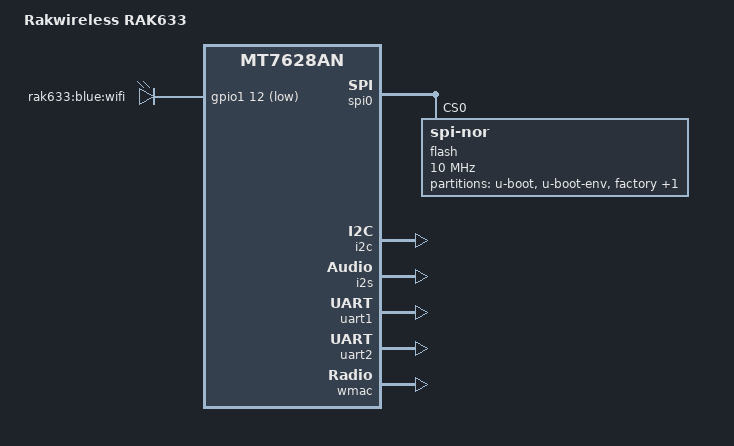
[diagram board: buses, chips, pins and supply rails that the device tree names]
// SPDX-License-Identifier: GPL-2.0-or-later OR MIT
/dts-v1/;

#include "mt7628an.dtsi"

#include <dt-bindings/gpio/gpio.h>
#include <dt-bindings/input/input.h>

/ {
	compatible = "rakwireless,rak633", "mediatek,mt7628an-soc";
	model = "Rakwireless RAK633";

	leds {
		compatible = "gpio-leds";

		wifi {
			label = "rak633:blue:wifi";
			gpios = <&gpio1 12 GPIO_ACTIVE_LOW>;
		};
	};
};

&pinctrl {
	state_default: pinctrl0 {
		wled_an {
			ralink,group = "wled_an";
			ralink,function = "gpio";
		};
	};
};

&spi0 {
	status = "okay";

	flash@0 {
		compatible = "jedec,spi-nor";
		reg = <0>;
		spi-max-frequency = <10000000>;

		partitions {
			compatible = "fixed-partitions";
			#address-cells = <1>;
			#size-cells = <1>;

			partition@0 {
				label = "u-boot";
				reg = <0x0 0x30000>;
				read-only;
			};

			partition@30000 {
				label = "u-boot-env";
				reg = <0x30000 0x10000>;
				read-only;
			};

			factory: partition@40000 {
				label = "factory";
				reg = <0x40000 0x10000>;
				read-only;
			};

			partition@50000 {
				compatible = "denx,uimage";
				label = "firmware";
				reg = <0x50000 0x7b0000>;
			};
		};
	};
};

&i2c {
	status = "okay";
};

&i2s {
	status = "okay";
};

&uart1 {
	status = "okay";
};

&uart2 {
	status = "okay";
};

&gdma {
	status = "okay";
};

&ethernet {
	mtd-mac-address = <&factory 0x28>;
};

&wmac {
	status = "okay";
	ralink,mtd-eeprom = <&factory 0x4>;
};
